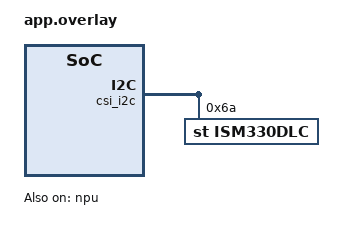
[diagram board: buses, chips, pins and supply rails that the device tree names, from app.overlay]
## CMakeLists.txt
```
cmake_minimum_required(VERSION 3.20.0)

set(BOARD stm32n6570_dk)
set(SHIELD st_b_cams_imx_mb1854)

find_package(Zephyr REQUIRED HINTS $ENV{ZEPHYR_BASE})

project(app LANGUAGES C)

target_include_directories(app PRIVATE src/ism330dlc)
target_sources(app PRIVATE src/main.c src/ism330dlc/ism330dlc.c src/ism330dlc/ism330dlc_reg.c)
```

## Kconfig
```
mainmenu "Zephyr IMU sample application"

menu "Application options"
config MY_APP
	bool "Enable app"
	default y
	select USE_STM32_HAL_RAMCFG
	select USE_STM32_HAL_CACHEAXI
	select FPU
	help
		enable application
endmenu

source "Kconfig.zephyr"
```

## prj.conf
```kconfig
CONFIG_MY_APP=y
CONFIG_MAIN_STACK_SIZE=8192
# CONFIG_XIP is not set
# CONFIG_USE_STM32_MW_ISP=y
CONFIG_DYNAMIC_INTERRUPTS=y
CONFIG_FLASH=y
CONFIG_HW_STACK_PROTECTION=y
CONFIG_GPIO=y
CONFIG_SERIAL=y
CONFIG_LOG=y
CONFIG_ASSERT=n
CONFIG_CONSOLE=y
CONFIG_UART_CONSOLE=y
CONFIG_I2C=y
CONFIG_SENSOR=y
CONFIG_ISM330DLC=y
```

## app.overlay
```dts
/*
 * Copyright (c) 2025 STMicroelectronics.
 * All rights reserved.
 *
 * This software is licensed under terms that can be found in the LICENSE file
 * in the root directory of this software component.
 * If no LICENSE file comes with this software, it is provided AS-IS.
 */

/ {
	chosen {
		zephyr,camera_aux = &pipe_aux;
	};
};

// Turn on so called npu rams. They will used by NPU for model actvation buffers
&axisram3 {
	status = "okay";
};
&axisram4 {
	status = "okay";
};
&axisram5 {
	status = "okay";
};
&axisram6 {
	status = "okay";
};

&csi_i2c {
	status = "okay";

	ism330dlc: ism330dlc@6a {
		compatible = "st,ism330dlc";
		reg = <0x6a>;        /* SA0=GND → 7-bit address 0x6a; use 0x6b if SA0=VCC */

		accel-odr   = <104>;
		accel-range = <2>;
		gyro-odr    = <104>;
		gyro-range  = <2000>;
	};
};

// Turn on npu
&npu {
	status = "okay";
};

// Temporary patch that allows to turn on cache on psram
// Remove this when merge upstream
&psram {
	/* Prevent access to the last 32bytes of the memory-mapped device */
	reg = <0x90000000 (DT_SIZE_M(32) - 32)>;
	zephyr,memory-attr = <DT_MEM_ARM(ATTR_MPU_RAM)>;
};
```

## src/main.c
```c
#include <zephyr/kernel.h>
#include <zephyr/sys/__assert.h>
#include <zephyr/logging/log.h>
#include <zephyr/sys/util.h>
#include <zephyr/device.h>
#include <zephyr/drivers/gpio.h>
#include <zephyr/drivers/sensor.h>

LOG_MODULE_REGISTER(imu);

#define LED0_NODE DT_ALIAS(led0)
static const struct gpio_dt_spec led = GPIO_DT_SPEC_GET(LED0_NODE, gpios);
static const struct device *imu_dev = DEVICE_DT_GET(DT_NODELABEL(ism330dlc));

#define LED_STACK_SIZE 1024
#define IMU_STACK_SIZE 2048

K_THREAD_STACK_DEFINE(led_stack, LED_STACK_SIZE);
K_THREAD_STACK_DEFINE(imu_stack, IMU_STACK_SIZE);

static struct k_thread led_thread, imu_thread;

void led_thread_func(void *p1, void *p2, void *p3);
void imu_thread_func(void *p1, void *p2, void *p3);
static void hearbeat_init(void);


int main(){
    hearbeat_init();

    k_thread_create(&led_thread, led_stack, LED_STACK_SIZE,
        (k_thread_entry_t)led_thread_func, NULL, NULL, NULL,
        K_PRIO_COOP(6), 0, K_NO_WAIT);

        k_thread_create(&imu_thread, imu_stack, IMU_STACK_SIZE,
        (k_thread_entry_t)imu_thread_func, NULL, NULL, NULL,
        K_PRIO_COOP(7), 0, K_NO_WAIT);


    return 0;

}

void led_thread_func(void *p1, void *p2, void *p3)
{
    int ret;
    bool led_state = true;

    while (1) {
        ret = gpio_pin_toggle_dt(&led);
        if (ret < 0) {
            return;
        }

        led_state = !led_state;
        k_msleep(100);
    }
}

static void hearbeat_init(void)
{
    if (!device_is_ready(led.port)) {
        return;
    }

    gpio_pin_configure_dt(&led, GPIO_OUTPUT_ACTIVE);
}

void imu_thread_func(void *p1, void *p2, void *p3)
{
    struct sensor_value acc[3];
    struct sensor_value gyro[3];

    if (!device_is_ready(imu_dev)) {
        LOG_ERR("ISM330DLC device not ready");
        return;
    }

    while (1) {
        if (sensor_sample_fetch(imu_dev) == 0) {
            sensor_channel_get(imu_dev, SENSOR_CHAN_ACCEL_XYZ, acc);
            sensor_channel_get(imu_dev, SENSOR_CHAN_GYRO_XYZ, gyro);

            LOG_INF("ACC [m/s²]  x=%d.%06d  y=%d.%06d  z=%d.%06d",
                acc[0].val1, abs(acc[0].val2),
                acc[1].val1, abs(acc[1].val2),
                acc[2].val1, abs(acc[2].val2));

            LOG_INF("GYRO[rad/s] x=%d.%06d  y=%d.%06d  z=%d.%06d",
                gyro[0].val1, abs(gyro[0].val2),
                gyro[1].val1, abs(gyro[1].val2),
                gyro[2].val1, abs(gyro[2].val2));
        } else {
            LOG_ERR("sensor_sample_fetch failed");
        }

        k_msleep(200);
    }
}
```
